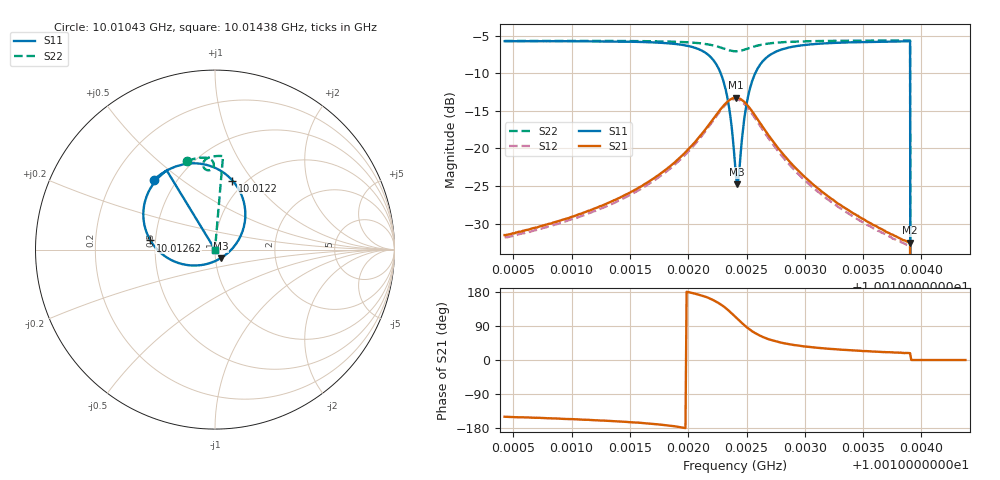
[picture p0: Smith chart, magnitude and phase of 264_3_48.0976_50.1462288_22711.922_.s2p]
#  HZ  S  RI  R  50.00
! Rohde & Schwarz Vector Network Analyzer
! Rohde-Schwarz,ZNB20-2Port,1311601062101988,3.16
! Created: UTC 12/23/2023, 4:01:06 AM
! freq[Hz]  re:S11  im:S11  re:S21  im:S21  re:S12  im:S12  re:S22  im:S22
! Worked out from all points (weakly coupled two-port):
!   401 points, 10.01043 GHz to 10.01438 GHz, reference 50 ohm
!   highest |S21| = -13.25 dB at 10.01241 GHz (marker M1); lowest = -32.6 dB at 10.0139 GHz (marker M2)
!   lowest |S11| = -24.8 dB at 10.01242 GHz (marker M3), VSWR 1.12, Z = 53 - j5.1 ohm
!   |S11| at or under -10 dB: 10.01228 GHz to 10.01257 GHz (296.4 kHz wide, 0.00296 % of centre); 10.0139 GHz to end of sweep
!   |S22| runs from - to -5.6 dB; largest |S21 - S12| = 0.01
!   S11 on the Smith chart (normalised r, x): 10.01043 GHz: 0.38, +0.40; 10.0122 GHz: 0.87, +0.80; 10.01262 GHz: 0.47, +0.06; 10.01438 GHz: 1.00, +0.00
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1.0010425e10  -0.3413 0.3889  -0.0229 -0.0134  -0.0213 -0.014  -0.1556 0.4955
1.0011087e10  -0.2848 0.4314  -0.0341 -0.0142  -0.0321 -0.0153  -0.1113 0.5073
1.0011749e10  -0.1707 0.4759  -0.0658 -0.0115  -0.0627 -0.0146  -0.0597 0.5126
1.0012045e10  -0.0367 0.4694  -0.1071 0.00738  -0.1039 0.00147  -0.0284 0.505
1.0012203e10  0.0969 0.3849  -0.1434 0.0534  -0.1426 0.0437  -0.00995 0.4866
1.0012322e10  0.1687 0.1772  -0.1459 0.1364  -0.1494 0.1269  -0.0104 0.4572
1.0012361e10  0.1436 0.0776  -0.1253 0.1708  -0.1294 0.1629  -0.0191 0.4474
1.0012401e10  0.0777 -0.0135  -0.0913 0.1973  -0.0967 0.1897  -0.0315 0.4421
1.0012411e10  0.0548 -0.0323  -0.081 0.202  -0.0863 0.1946  -0.0354 0.4417
1.0012421e10  0.0318 -0.0479  -0.0713 0.2051  -0.0767 0.1979  -0.0386 0.4418
1.001244e10  -0.0205 -0.0726  -0.05 0.2088  -0.0543 0.2023  -0.0455 0.4431
1.001248e10  -0.1296 -0.0885  -0.00764 0.2039  -0.0127 0.1976  -0.0572 0.4502
1.001251e10  -0.2012 -0.0754  0.0183 0.1922  0.0118 0.1862  -0.0626 0.4574
1.0012559e10  -0.2941 -0.0253  0.0477 0.165  0.0415 0.1597  -0.0665 0.4705
1.0012618e10  -0.36 0.051  0.0648 0.1314  0.0578 0.128  -0.0648 0.4841
1.0012806e10  -0.3979 0.2249  0.0656 0.0658  0.0595 0.0654  -0.0456 0.5072
1.0013063e10  -0.3651 0.3322  0.0485 0.0323  0.0446 0.0327  -0.0202 0.5173
1.0013725e10  -0.2857 0.4277  0.0255 0.00964  0.0238 0.0102  0.032 0.5216
1.0013883e10  -0.2706 0.4395  0.0227 0.00749  0.0211 0.00823  0.0433 0.5212
1.0013902e10  -0.269 0.441  0.0224 0.00724  0.0208 0.00806  0.0448 0.5211
1.0013932e10  0 0  0 0  0 0  0 0
1.0014377e10  0 0  0 0  0 0  0 0
